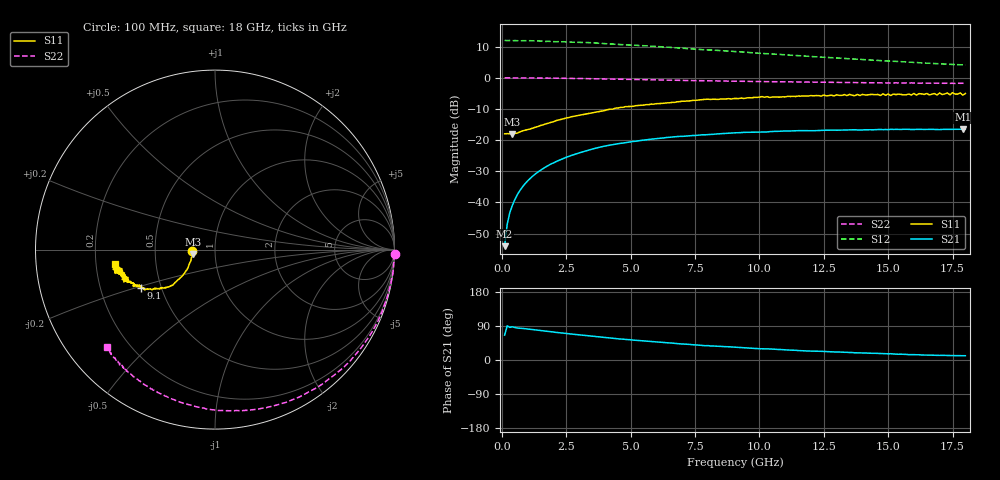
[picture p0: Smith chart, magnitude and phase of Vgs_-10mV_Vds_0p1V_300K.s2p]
#  HZ  S  DB  R  50.00
! Rohde & Schwarz ZVA50 4Ports - Version 4.11 - 1145.1110k52 SN: 100136
! Date: 2022-09-20 22:10:59
! Measurements: S11 S21 S12 S22
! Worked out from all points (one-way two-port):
!   180 points, 100 MHz to 18 GHz, reference 50 ohm
!   highest |S21| = -16.46 dB at 17.9 GHz (marker M1); lowest = -54.0 dB at 100 MHz (marker M2)
!   lowest |S11| = -18.0 dB at 400 MHz (marker M3), VSWR 1.29, Z = 39 - j1.9 ohm
!   |S11| at or under -10 dB: start of sweep to 4.316 GHz
!   |S22| runs from -1.8 to 0.0 dB; largest |S21 - S12| = 4
!   S11 on the Smith chart (normalised r, x): 100 MHz: 0.78, -0.01; 9.1 GHz: 0.38, -0.21; 18 GHz: 0.28, -0.07
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1e8  -17.97 -176.6  -54.02 65.5  12.00 179.1  0.01 -1.4
2e8  -17.90 -174.4  -47.04 90.1  11.97 178.1  -0.01 -2.7
4e8  -17.99 -169.0  -40.93 87.6  11.94 176.3  -0.01 -5.3
8e8  -16.99 -159.8  -34.94 83.3  11.92 173.4  -0.02 -10.7
1.3e9  -15.84 -151.4  -30.80 79.4  11.87 169.1  -0.06 -17.3
2.4e9  -13.12 -142.1  -25.81 70.8  11.59 160.0  -0.15 -31.4
3.1e9  -11.84 -140.7  -23.83 65.7  11.36 154.7  -0.21 -39.8
3.8e9  -10.77 -140.6  -22.25 60.8  11.12 149.2  -0.35 -48.1
4.5e9  -9.68 -140.9  -21.15 56.1  10.75 144.6  -0.43 -55.8
6.1e9  -8.26 -145.8  -19.42 47.2  10.01 134.7  -0.67 -71.9
7.6e9  -7.13 -150.0  -18.41 39.5  9.15 126.5  -0.90 -84.8
9.1e9  -6.65 -152.9  -17.62 33.4  8.42 119.5  -1.08 -96.2
1e10  -6.16 -156.3  -17.39 29.6  7.89 115.5  -1.19 -102.3
1.21e10  -5.77 -160.1  -16.97 23.4  6.81 107.9  -1.38 -114.3
1.48e10  -5.13 -166.3  -16.62 16.6  5.49 99.3  -1.57 -127.2
1.51e10  -5.67 -164.1  -16.51 16.6  5.43 99.0  -1.57 -127.5
1.69e10  -5.53 -168.4  -16.56 12.4  4.57 94.5  -1.72 -134.9
1.7e10  -4.84 -169.6  -16.61 12.1  4.50 94.0  -1.72 -135.4
1.74e10  -5.44 -168.6  -16.53 11.8  4.33 93.2  -1.77 -136.7
1.75e10  -4.76 -169.1  -16.50 11.7  4.31 92.9  -1.75 -136.7
1.79e10  -5.54 -167.3  -16.46 11.4  4.17 92.3  -1.73 -137.8
1.8e10  -5.01 -171.5  -16.49 11.2  4.11 91.8  -1.82 -138.1
